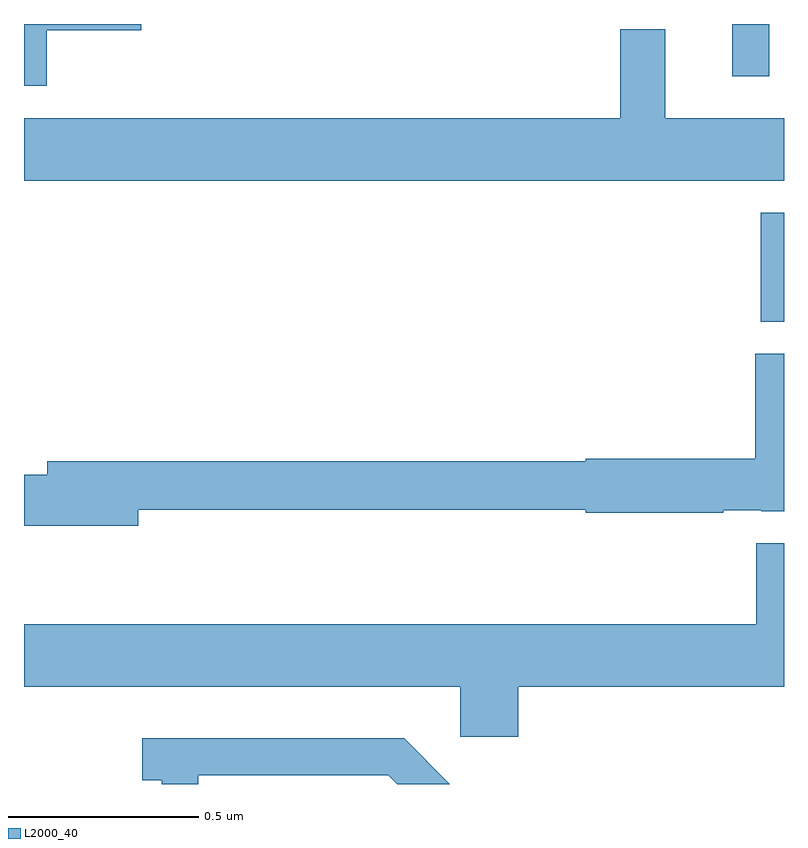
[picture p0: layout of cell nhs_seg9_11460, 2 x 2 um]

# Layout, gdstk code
import gdstk
lib = gdstk.Library(unit=1e-6, precision=1e-09)
def R(c, l, rs):  # rectangles x0, y0, x1, y1
    for r in rs: c.add(gdstk.rectangle(r[:2], r[2:], *l))
def P(c, l, *ps):  # polygons
    for p in ps: c.add(gdstk.Polygon(p, *l))
L2000_40 = (2000, 40)

nhs_seg9_11460 = lib.new_cell('nhs_seg9_11460')
R(nhs_seg9_11460, L2000_40, [(257.939,1194.717,258,1195.003), (257.864,1195.362,257.961,1195.5)])
P(nhs_seg9_11460, L2000_40, [(256.06,1195.484),(256.309,1195.484),(256.309,1195.5),(256,1195.5),(256,1195.338),(256.06,1195.338)],
  [(258,1195.252),(257.687,1195.252),(257.687,1195.486),(257.569,1195.486),(257.569,1195.252),(256,1195.252),(256,1195.088),(258,1195.088)],
  [(256.3,1194.222),(257.478,1194.222),(257.478,1194.214),(257.84,1194.214),(257.84,1194.221),(257.94,1194.221),(257.94,1194.218),(258,1194.218),(258,1194.632),(257.924,1194.632),(257.924,1194.356),(257.478,1194.356),(257.478,1194.35),(256.061,1194.35),(256.061,1194.314),(256,1194.314),(256,1194.179),(256.3,1194.179)],
  [(257.3,1193.756),(258,1193.756),(258,1194.133),(257.927,1194.133),(257.927,1193.92),(256,1193.92),(256,1193.756),(257.148,1193.756),(257.148,1193.625),(257.3,1193.625)],
  [(256.459,1193.523),(256.959,1193.523),(256.982,1193.5),(257.12,1193.5),(257,1193.62),(256.311,1193.62),(256.311,1193.51),(256.362,1193.51),(256.362,1193.5),(256.459,1193.5)])

lib.write_gds('nhs_seg9_11460.gds')
